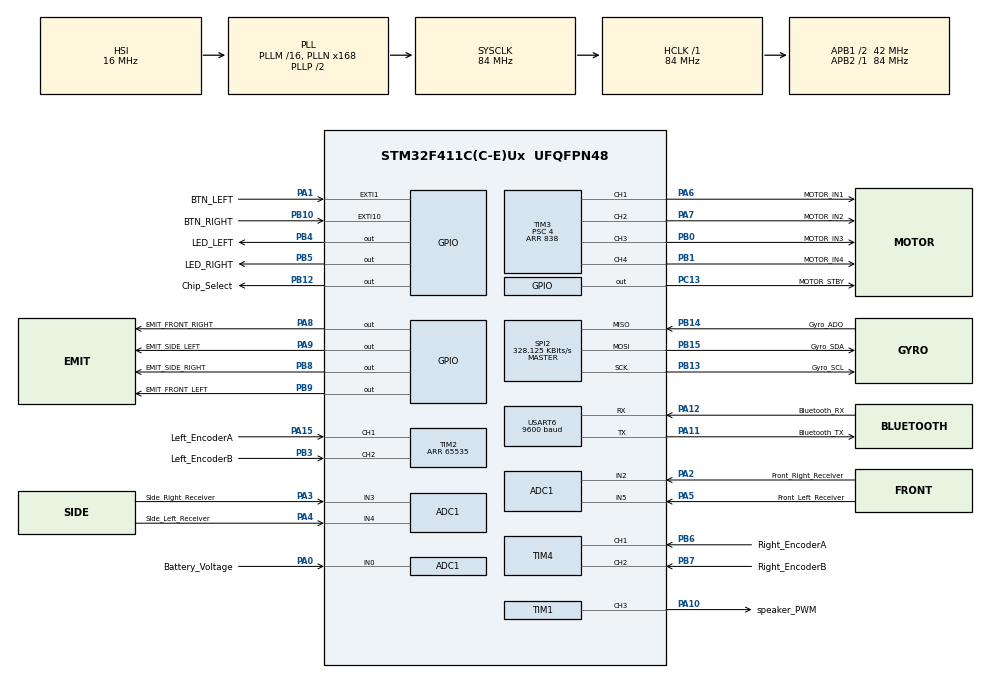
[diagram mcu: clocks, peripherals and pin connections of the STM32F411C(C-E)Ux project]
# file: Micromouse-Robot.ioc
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ADC1.Channel-1\#ChannelRegularConversion=ADC_CHANNEL_0
ADC1.ContinuousConvMode=DISABLE
ADC1.NbrOfConversion=1
ADC1.NbrOfConversionFlag=1
ADC1.Rank-1\#ChannelRegularConversion=1
ADC1.SamplingTime-1\#ChannelRegularConversion=ADC_SAMPLETIME_84CYCLES
ADC1.master=1
Mcu.Family=STM32F4
Mcu.Name=STM32F411C(C-E)Ux
Mcu.Package=UFQFPN48
NVIC.EXTI15_10_IRQn=true\:5\:0\:true\:false\:true\:true\:true\:true
NVIC.EXTI1_IRQn=true\:5\:0\:true\:false\:true\:true\:true\:true
NVIC.PriorityGroup=NVIC_PRIORITYGROUP_4
NVIC.TIM1_UP_TIM10_IRQn=true\:7\:0\:true\:false\:true\:true\:true\:true
NVIC.USART6_IRQn=true\:6\:0\:true\:false\:true\:true\:true\:true
PA0-WKUP.GPIO_Label=Battery_Voltage
PA0-WKUP.Signal=ADCx_IN0
PA1.GPIO_Label=BTN_LEFT
PA1.Signal=GPXTI1
PA10.GPIO_Label=speaker_PWM
PA10.Signal=S_TIM1_CH3
PA11.GPIO_Label=Bluetooth_TX
PA11.Mode=Asynchronous
PA11.Signal=USART6_TX
PA12.GPIO_Label=Bluetooth_RX
PA12.Mode=Asynchronous
PA12.Signal=USART6_RX
PA15.GPIO_Label=Left_EncoderA
PA15.Signal=S_TIM2_CH1_ETR
PA2.GPIO_Label=Front_Right_Receiver
PA2.Signal=ADCx_IN2
PA3.GPIO_Label=Side_Right_Receiver
PA3.Signal=ADCx_IN3
PA4.GPIO_Label=Side_Left_Receiver
PA4.Signal=ADCx_IN4
PA5.GPIO_Label=Front_Left_Receiver
PA5.Signal=ADCx_IN5
PA6.GPIO_Label=MOTOR_IN1
PA6.Signal=S_TIM3_CH1
PA7.GPIO_Label=MOTOR_IN2
PA7.Signal=S_TIM3_CH2
PA8.GPIO_Label=EMIT_FRONT_RIGHT
PA8.Signal=GPIO_Output
PA9.GPIO_Label=EMIT_SIDE_LEFT
PA9.Signal=GPIO_Output
PB0.GPIO_Label=MOTOR_IN3
PB0.Signal=S_TIM3_CH3
PB1.GPIO_Label=MOTOR_IN4
PB1.Signal=S_TIM3_CH4
PB10.GPIO_Label=BTN_RIGHT
PB10.Signal=GPXTI10
PB12.GPIO_Label=Chip_Select
PB12.Signal=GPIO_Output
PB13.GPIO_Label=Gyro_SCL
PB13.Mode=Full_Duplex_Master
PB13.Signal=SPI2_SCK
PB14.GPIO_Label=Gyro_ADO
PB14.Mode=Full_Duplex_Master
PB14.Signal=SPI2_MISO
PB15.GPIO_Label=Gyro_SDA
PB15.Mode=Full_Duplex_Master
PB15.Signal=SPI2_MOSI
PB3.GPIO_Label=Left_EncoderB
PB3.Signal=S_TIM2_CH2
PB4.GPIO_Label=LED_LEFT
PB4.Signal=GPIO_Output
PB5.GPIO_Label=LED_RIGHT
PB5.Signal=GPIO_Output
PB6.GPIO_Label=Right_EncoderA
PB6.Signal=S_TIM4_CH1
PB7.GPIO_Label=Right_EncoderB
PB7.Signal=S_TIM4_CH2
PB8.GPIO_Label=EMIT_SIDE_RIGHT
PB8.Signal=GPIO_Output
PB9.GPIO_Label=EMIT_FRONT_LEFT
PB9.Signal=GPIO_Output
PC13-ANTI_TAMP.GPIO_Label=MOTOR_STBY
PC13-ANTI_TAMP.Signal=GPIO_Output
ProjectManager.HeapSize=0x200
ProjectManager.StackSize=0x400
ProjectManager.TargetToolchain=STM32CubeIDE
RCC.48MHZClocksFreq_Value=42000000
RCC.AHBFreq_Value=84000000
RCC.APB1CLKDivider=RCC_HCLK_DIV2
RCC.APB1Freq_Value=42000000
RCC.APB1TimFreq_Value=84000000
RCC.APB2Freq_Value=84000000
RCC.APB2TimFreq_Value=84000000
RCC.CortexFreq_Value=84000000
RCC.HCLKFreq_Value=84000000
RCC.HSE_VALUE=25000000
RCC.HSI_VALUE=16000000
RCC.LSE_VALUE=32768
RCC.PLLN=168
RCC.SYSCLKFreq_VALUE=84000000
RCC.SYSCLKSource=RCC_SYSCLKSOURCE_PLLCLK
RCC.VCOOutputFreq_Value=168000000
SH.ADCx_IN0.0=ADC1_IN0,IN0
SH.ADCx_IN2.0=ADC1_IN2,IN2
SH.ADCx_IN3.0=ADC1_IN3,IN3
SH.ADCx_IN4.0=ADC1_IN4,IN4
SH.ADCx_IN5.0=ADC1_IN5,IN5
SH.S_TIM1_CH3.0=TIM1_CH3,PWM Generation3 CH3
SH.S_TIM2_CH1_ETR.0=TIM2_CH1,Encoder_Interface
SH.S_TIM2_CH2.0=TIM2_CH2,Encoder_Interface
SH.S_TIM3_CH1.0=TIM3_CH1,PWM Generation1 CH1
SH.S_TIM3_CH2.0=TIM3_CH2,PWM Generation2 CH2
SH.S_TIM3_CH3.0=TIM3_CH3,PWM Generation3 CH3
SH.S_TIM3_CH4.0=TIM3_CH4,PWM Generation4 CH4
SH.S_TIM4_CH1.0=TIM4_CH1,Encoder_Interface
SH.S_TIM4_CH2.0=TIM4_CH2,Encoder_Interface
SPI2.BaudRatePrescaler=SPI_BAUDRATEPRESCALER_128
SPI2.CalculateBaudRate=328.125 KBits/s
SPI2.Direction=SPI_DIRECTION_2LINES
SPI2.Mode=SPI_MODE_MASTER
SPI2.VirtualType=VM_MASTER
TIM1.AutoReloadPreload=TIM_AUTORELOAD_PRELOAD_ENABLE
TIM1.Channel-PWM\ Generation3\ CH3=TIM_CHANNEL_3
TIM1.Period=200
TIM1.Prescaler=20
TIM1.Pulse-PWM\ Generation3\ CH3=100
TIM2.AutoReloadPreload=TIM_AUTORELOAD_PRELOAD_ENABLE
TIM2.EncoderMode=TIM_ENCODERMODE_TI12
TIM2.Period=65535
TIM3.AutoReloadPreload=TIM_AUTORELOAD_PRELOAD_ENABLE
TIM3.Channel-PWM\ Generation1\ CH1=TIM_CHANNEL_1
TIM3.Channel-PWM\ Generation2\ CH2=TIM_CHANNEL_2
TIM3.Channel-PWM\ Generation3\ CH3=TIM_CHANNEL_3
TIM3.Channel-PWM\ Generation4\ CH4=TIM_CHANNEL_4
TIM3.Period=838
TIM3.Prescaler=4
TIM4.AutoReloadPreload=TIM_AUTORELOAD_PRELOAD_ENABLE
TIM4.EncoderMode=TIM_ENCODERMODE_TI12
USART6.BaudRate=9600
USART6.VirtualMode=VM_ASYNC
VP_TIM1_VS_ClockSourceINT.Mode=Internal
VP_TIM3_VS_ClockSourceINT.Mode=Internal
board=custom

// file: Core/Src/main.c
/* USER CODE BEGIN Header */
/**
  ******************************************************************************
  * @file           : main.c
  * @brief          : Main program body
  ******************************************************************************
  * @attention
  *
  * Copyright (c) 2025 STMicroelectronics.
  * All rights reserved.
  *
  * This software is licensed under terms that can be found in the LICENSE file
  * in the root directory of this software component.
  * If no LICENSE file comes with this software, it is provided AS-IS.
  *
  ******************************************************************************
  */
/* USER CODE END Header */
#include "main.h"

/* USER CODE BEGIN Includes */
/*
 * Hardware Configuration:
 * - STM32F411CEU6 @ 84MHz
 * - ADC1: Battery + 4 IR sensors (PA0,PA2,PA3,PA4,PA5)
 * - GPIO: IR emitters (PA8,PA9,PB8,PB9), LEDs (PB4,PB5), Motors (PA6,PA7,PB0,PB1)
 * - TIM3/TIM4: Encoders for precise movement
 * - USART6: Bluetooth communication (PA11,PA12)
 * - SPI2: MPU9250 gyroscope
 * - TIM1: Speaker PWM (PA10)
 * - External Interrupts: Buttons PA1, PB10
 */
#include "micromouse.h"
//#include <stdio.h>
//#include <string.h>
//#include <math.h>
/* USER CODE END Includes */

ADC_HandleTypeDef hadc1;

SPI_HandleTypeDef hspi2;

TIM_HandleTypeDef htim1;
TIM_HandleTypeDef htim2;
TIM_HandleTypeDef htim3;
TIM_HandleTypeDef htim4;

UART_HandleTypeDef huart6;

/* USER CODE BEGIN PV */
/* Micromouse global variables */
MazeCell maze[MAZE_SIZE][MAZE_SIZE];
RobotState robot;
SensorData sensors;
GyroData gyro;
EncoderData encoders;
volatile uint8_t button_pressed = 0;
volatile uint8_t start_flag = 0;

/* Direction vectors for movement */
const int dx[4] = {0, 1, 0, -1}; // N, E, S, W
const int dy[4] = {1, 0, -1, 0};

/* Goal positions (center of maze)  */

const int goal_x1 = (MAZE_SIZE/2 - 1), goal_y1 = (MAZE_SIZE/2 - 1);
const int goal_x2 = (MAZE_SIZE/2), goal_y2 = (MAZE_SIZE/2);

/* Exploration state variables */
static bool system_ready = false;
static bool exploration_started = false;
static uint32_t last_status_time = 0;
static uint32_t last_blink_time = 0;

/* USER CODE END PV */

void SystemClock_Config(void);
static void MX_GPIO_Init(void);
static void MX_ADC1_Init(void);
static void MX_SPI2_Init(void);
static void MX_TIM1_Init(void);
static void MX_TIM2_Init(void);
static void MX_TIM4_Init(void);
static void MX_USART6_UART_Init(void);
static void MX_TIM3_Init(void);
/* USER CODE BEGIN PFP */

static void initialize_hardware_systems(void);
static void run_system_diagnostics(void);
static void send_periodic_status(void);
extern void dwt_delay_init(uint32_t cpu_hz);
extern void dwt_delay_us(uint32_t us);

/* USER CODE END PFP */

/* USER CODE BEGIN 0 */

/**
 * @brief Initialize all hardware systems and perform diagnostics
 */
static void initialize_hardware_systems(void) {
    //send_bluetooth_message("\r\n" "="*60 "\r\n");
    send_bluetooth_message("🤖 CHAMPIONSHIP MICROMOUSE INITIALIZATION 🤖\r\n");
    //send_bluetooth_message("="*60 "\r\n");

    // Initialize PWM for motors
    HAL_TIM_PWM_Start(&htim3, TIM_CHANNEL_1); // PA6 (MOTOR_IN1)
    HAL_TIM_PWM_Start(&htim3, TIM_CHANNEL_2); // PA7 (MOTOR_IN2)
    HAL_TIM_PWM_Start(&htim3, TIM_CHANNEL_3); // PB0 (MOTOR_IN3)
    HAL_TIM_PWM_Start(&htim3, TIM_CHANNEL_4); // PB1 (MOTOR_IN4)
    HAL_GPIO_WritePin(MOTOR_STBY_GPIO_Port, MOTOR_STBY_Pin, GPIO_PIN_SET); // Enable DRV8833

    // Verify ADC GPIO configuration
    verify_adc_gpio_configuration();
    adc_system_diagnostics();

    // Initialize and test MPU9250 gyroscope
    if (mpu9250_init()) {
        send_bluetooth_message("✅ MPU9250 gyroscope initialized successfully\r\n");
        send_bluetooth_message("⚠️ KEEP ROBOT STATIONARY during gyro calibration!\r\n");
        HAL_Delay(2000);
        mpu9250_calibrate_bias();
        send_bluetooth_message("✅ Gyro calibration complete\r\n");
    } else {
        send_bluetooth_message("⚠️ Gyro initialization failed - using basic movement\r\n");
    }

    // Initialize encoders
    start_encoders();
    HAL_Delay(100);

    // Test encoder functionality
    if (get_left_encoder_total() == 0 && get_right_encoder_total() == 0) {
        send_bluetooth_message("⚠️ WARNING: Encoders may not be working properly\r\n");
    } else {
        send_bluetooth_message("✅ Encoders initialized and responding\r\n");
    }

    // Initialize maze exploration system
    initialize_maze_exploration();

    send_bluetooth_message("✅ All systems initialized successfully!\r\n");
}

/**
 * @brief Run comprehensive system diagnostics
 */
static void run_system_diagnostics(void) {
    send_bluetooth_message("\r\n🔧 SYSTEM DIAGNOSTICS 🔧\r\n");

    // Test sensors
    update_sensors();
    if (sensors.battery == 0 && sensors.front_left == 0 &&
        sensors.front_right == 0 && sensors.side_left == 0 && sensors.side_right == 0) {
        send_bluetooth_message("❌ CRITICAL: All sensors reading zero - check connections!\r\n");
    } else {
        send_bluetooth_message("✅ Sensors responding normally\r\n");
        send_sensor_data();
    }

    // Test battery
    send_battery_status();

    // Test gyro if available
    if (mpu9250_is_initialized()) {
        mpu9250_send_status();
    }

    // Test encoders
    send_encoder_status();

    // System health check
    if (system_health_check()) {
        send_bluetooth_message("✅ System health check PASSED\r\n");
        system_ready = true;
    } else {
        send_bluetooth_message("⚠️ System health check FAILED - check warnings above\r\n");
        system_ready = true;//false;
    }

    send_bluetooth_message("🔧 Diagnostics complete!\r\n");
}

/**
 * @brief Send periodic status updates
 */
static void send_periodic_status(void) {
    uint32_t current_time = HAL_GetTick();

    // Send status every 10 seconds when not exploring
    if (current_time - last_status_time > 10000 && !exploration_started) {
        send_battery_status();

        if (system_ready) {
            send_bluetooth_message("💚 System ready - Press LEFT button to start exploration\r\n");
        } else {
            send_bluetooth_message("🔴 System not ready - Check diagnostics\r\n");
        }

        last_status_time = current_time;
    }

    // Blink LED to show system is alive
    if (current_time - last_blink_time > 2000) {
        if (system_ready) {
            HAL_GPIO_TogglePin(LED_LEFT_GPIO_Port, LED_LEFT_Pin);
        } else {
            // Fast blink if system not ready
            HAL_GPIO_TogglePin(LED_RIGHT_GPIO_Port, LED_RIGHT_Pin);
        }
        last_blink_time = current_time;
    }
}

/* USER CODE END 0 */

int main(void)
{

  /* MCU Configuration--------------------------------------------------------*/

  /* Reset of all peripherals, Initializes the Flash interface and the Systick. */
  HAL_Init();

  /* Configure the system clock */
  SystemClock_Config();

  /* Initialize all configured peripherals */
  MX_GPIO_Init();
  MX_ADC1_Init();
  MX_SPI2_Init();
  MX_TIM1_Init();
  MX_TIM2_Init();
  MX_TIM4_Init();
  MX_USART6_UART_Init();
  MX_TIM3_Init();

  // main.c — after SystemClock_Config();

  dwt_delay_init(HAL_RCC_GetHCLKFreq());

  /* USER CODE BEGIN 2 */
  // Initialize all hardware systems
  initialize_hardware_systems();

  // Run system diagnostics
  run_system_diagnostics();

  // Play startup sequence
  play_startup_tone();
  led_sequence_startup();

  // Send startup message
  send_bluetooth_message("\r\n🎮 MICROMOUSE CONTROL READY 🎮\r\n");
  send_bluetooth_message("LEFT button: Start exploration\r\n");
  send_bluetooth_message("RIGHT button: Status/Emergency stop\r\n");
  send_bluetooth_message("Waiting for user input...\r\n");

    // Initial status
  last_status_time = HAL_GetTick();
  last_blink_time = HAL_GetTick();

  // Bench tests used during tuning live in logging_tests.c, sensors.c and
  // movement.c.
  // To run one, call it here instead of starting exploration, e.g.:
  //   calibrate_sensors();
  //   run_gyro_step_test(700, 200, 1000, 2000, 5, 7000);
  //   run_gyro_turn_step_test(700, 120, 1000, 1500, 5, 3500);
  //   run_wall_single_left_step_test(650, 150, 1000, 2000, 10, 6000);
  //   run_wall_lateral_step_test(500, 150, 1000, 2000, 10, 6000);
  //   test_encoder_rotation();   // turn the wheels by hand, watch counts
  // Arguments: base_pwm, delta_pwm, step_delay_ms, step_duration_ms,
  //            sample_ms, total_ms. Output is CSV over Bluetooth; the
  //            Python scripts in Core/ fit PID gains from those logs.

  /* USER CODE END 2 */

  /* Infinite loop */
  while (1)
  {

    /* USER CODE BEGIN 3 */

	//update_sensors();
	// Handle button events
	if (button_pressed == 1) {
		button_pressed = 0;

		if (!exploration_started && system_ready) {
			send_bluetooth_message("\r\n🚀 STARTING MAZE EXPLORATION! 🚀\r\n");
			play_confirmation_tone();
			HAL_Delay(1000);

			exploration_started = true;
			run_maze_exploration_sequence();

		} else if (is_exploration_complete()) {
			// Left button after exploration: shortest-path run from start.
			// For a repeat run, carry the robot back to the start cell
			// facing north, then press again.
			play_confirmation_tone();
			HAL_Delay(1000);
			run_speed_run();

		} else if (!system_ready) {
			send_bluetooth_message("⚠️ System not ready - check diagnostics!\r\n");
			play_error_tone();
		}
	}

	if (button_pressed == 2) {
		button_pressed = 0;

		// Right button - emergency stop or reset
		if (exploration_started && !is_exploration_complete()) {
			send_bluetooth_message("🛑 EMERGENCY STOP!\r\n");
			stop_motors();
			play_error_tone();
			exploration_started = false;
		} else {
			// Send detailed status
			send_bluetooth_message("\r\n📊 DETAILED STATUS REPORT 📊\r\n");
			send_maze_state();
			send_sensor_data();
			send_position_data();
			if (exploration_started) {
				send_performance_metrics();
			}
		}
	}

	// Send periodic status updates
	send_periodic_status();

	// If exploration is running, let it continue
	if (exploration_started && !is_exploration_complete()) {
		// The exploration runs in run_maze_exploration_sequence()
		// and handles its own loop until complete
	}

	// Small delay to prevent overwhelming the system
	HAL_Delay(50);

  }
  /* USER CODE END 3 */
}

void SystemClock_Config(void)
{
  RCC_OscInitTypeDef RCC_OscInitStruct = {0};
  RCC_ClkInitTypeDef RCC_ClkInitStruct = {0};

  /** Configure the main internal regulator output voltage
  */
  __HAL_RCC_PWR_CLK_ENABLE();
  __HAL_PWR_VOLTAGESCALING_CONFIG(PWR_REGULATOR_VOLTAGE_SCALE1);

  /** Initializes the RCC Oscillators according to the specified parameters
  * in the RCC_OscInitTypeDef structure.
  */
  RCC_OscInitStruct.OscillatorType = RCC_OSCILLATORTYPE_HSI;
  RCC_OscInitStruct.HSIState = RCC_HSI_ON;
  RCC_OscInitStruct.HSICalibrationValue = RCC_HSICALIBRATION_DEFAULT;
  RCC_OscInitStruct.PLL.PLLState = RCC_PLL_ON;
  RCC_OscInitStruct.PLL.PLLSource = RCC_PLLSOURCE_HSI;
  RCC_OscInitStruct.PLL.PLLM = 16;
  RCC_OscInitStruct.PLL.PLLN = 168;
  RCC_OscInitStruct.PLL.PLLP = RCC_PLLP_DIV2;
  RCC_OscInitStruct.PLL.PLLQ = 4;
  if (HAL_RCC_OscConfig(&RCC_OscInitStruct) != HAL_OK)
  {
    Error_Handler();
  }

  /** Initializes the CPU, AHB and APB buses clocks
  */
  RCC_ClkInitStruct.ClockType = RCC_CLOCKTYPE_HCLK|RCC_CLOCKTYPE_SYSCLK
                              |RCC_CLOCKTYPE_PCLK1|RCC_CLOCKTYPE_PCLK2;
  RCC_ClkInitStruct.SYSCLKSource = RCC_SYSCLKSOURCE_PLLCLK;
  RCC_ClkInitStruct.AHBCLKDivider = RCC_SYSCLK_DIV1;
  RCC_ClkInitStruct.APB1CLKDivider = RCC_HCLK_DIV2;
  RCC_ClkInitStruct.APB2CLKDivider = RCC_HCLK_DIV1;

  if (HAL_RCC_ClockConfig(&RCC_ClkInitStruct, FLASH_LATENCY_2) != HAL_OK)
  {
    Error_Handler();
  }
}

static void MX_ADC1_Init(void)
{

  ADC_ChannelConfTypeDef sConfig = {0};

  /** Configure the global features of the ADC (Clock, Resolution, Data Alignment and number of conversion)
  */
  hadc1.Instance = ADC1;
  hadc1.Init.ClockPrescaler = ADC_CLOCK_SYNC_PCLK_DIV4;
  hadc1.Init.Resolution = ADC_RESOLUTION_12B;
  hadc1.Init.ScanConvMode = DISABLE;
  hadc1.Init.ContinuousConvMode = DISABLE;
  hadc1.Init.DiscontinuousConvMode = DISABLE;
  hadc1.Init.ExternalTrigConvEdge = ADC_EXTERNALTRIGCONVEDGE_NONE;
  hadc1.Init.ExternalTrigConv = ADC_SOFTWARE_START;
  hadc1.Init.DataAlign = ADC_DATAALIGN_RIGHT;
  hadc1.Init.NbrOfConversion = 1;
  hadc1.Init.DMAContinuousRequests = DISABLE;
  hadc1.Init.EOCSelection = ADC_EOC_SINGLE_CONV;
  if (HAL_ADC_Init(&hadc1) != HAL_OK)
  {
    Error_Handler();
  }

  /** Configure for the selected ADC regular channel its corresponding rank in the sequencer and its sample time.
  */
  sConfig.Channel = ADC_CHANNEL_0;
  sConfig.Rank = 1;
  sConfig.SamplingTime = ADC_SAMPLETIME_84CYCLES;
  if (HAL_ADC_ConfigChannel(&hadc1, &sConfig) != HAL_OK)
  {
    Error_Handler();
  }

}

static void MX_SPI2_Init(void)
{

  /* SPI2 parameter configuration*/
  hspi2.Instance = SPI2;
  hspi2.Init.Mode = SPI_MODE_MASTER;
  hspi2.Init.Direction = SPI_DIRECTION_2LINES;
  hspi2.Init.DataSize = SPI_DATASIZE_8BIT;
  hspi2.Init.CLKPolarity = SPI_POLARITY_LOW;
  hspi2.Init.CLKPhase = SPI_PHASE_1EDGE;
  hspi2.Init.NSS = SPI_NSS_SOFT;
  hspi2.Init.BaudRatePrescaler = SPI_BAUDRATEPRESCALER_128;
  hspi2.Init.FirstBit = SPI_FIRSTBIT_MSB;
  hspi2.Init.TIMode = SPI_TIMODE_DISABLE;
  hspi2.Init.CRCCalculation = SPI_CRCCALCULATION_DISABLE;
  hspi2.Init.CRCPolynomial = 10;
  if (HAL_SPI_Init(&hspi2) != HAL_OK)
  {
    Error_Handler();
  }

}

static void MX_TIM1_Init(void)
{

  TIM_ClockConfigTypeDef sClockSourceConfig = {0};
  TIM_MasterConfigTypeDef sMasterConfig = {0};
  TIM_OC_InitTypeDef sConfigOC = {0};
  TIM_BreakDeadTimeConfigTypeDef sBreakDeadTimeConfig = {0};

  htim1.Instance = TIM1;
  htim1.Init.Prescaler = 20;
  htim1.Init.CounterMode = TIM_COUNTERMODE_UP;
  htim1.Init.Period = 200;
  htim1.Init.ClockDivision = TIM_CLOCKDIVISION_DIV1;
  htim1.Init.RepetitionCounter = 0;
  htim1.Init.AutoReloadPreload = TIM_AUTORELOAD_PRELOAD_ENABLE;
  if (HAL_TIM_Base_Init(&htim1) != HAL_OK)
  {
    Error_Handler();
  }
  sClockSourceConfig.ClockSource = TIM_CLOCKSOURCE_INTERNAL;
  if (HAL_TIM_ConfigClockSource(&htim1, &sClockSourceConfig) != HAL_OK)
  {
    Error_Handler();
  }
  if (HAL_TIM_PWM_Init(&htim1) != HAL_OK)
  {
    Error_Handler();
  }
  sMasterConfig.MasterOutputTrigger = TIM_TRGO_RESET;
  sMasterConfig.MasterSlaveMode = TIM_MASTERSLAVEMODE_DISABLE;
  if (HAL_TIMEx_MasterConfigSynchronization(&htim1, &sMasterConfig) != HAL_OK)
  {
    Error_Handler();
  }
  sConfigOC.OCMode = TIM_OCMODE_PWM1;
  sConfigOC.Pulse = 100;
  sConfigOC.OCPolarity = TIM_OCPOLARITY_HIGH;
  sConfigOC.OCNPolarity = TIM_OCNPOLARITY_HIGH;
  sConfigOC.OCFastMode = TIM_OCFAST_DISABLE;
  sConfigOC.OCIdleState = TIM_OCIDLESTATE_RESET;
  sConfigOC.OCNIdleState = TIM_OCNIDLESTATE_RESET;
  if (HAL_TIM_PWM_ConfigChannel(&htim1, &sConfigOC, TIM_CHANNEL_3) != HAL_OK)
  {
    Error_Handler();
  }
  sBreakDeadTimeConfig.OffStateRunMode = TIM_OSSR_DISABLE;
  sBreakDeadTimeConfig.OffStateIDLEMode = TIM_OSSI_DISABLE;
  sBreakDeadTimeConfig.LockLevel = TIM_LOCKLEVEL_OFF;
  sBreakDeadTimeConfig.DeadTime = 0;
  sBreakDeadTimeConfig.BreakState = TIM_BREAK_DISABLE;
  sBreakDeadTimeConfig.BreakPolarity = TIM_BREAKPOLARITY_HIGH;
  sBreakDeadTimeConfig.AutomaticOutput = TIM_AUTOMATICOUTPUT_DISABLE;
  if (HAL_TIMEx_ConfigBreakDeadTime(&htim1, &sBreakDeadTimeConfig) != HAL_OK)
  {
    Error_Handler();
  }
  HAL_TIM_MspPostInit(&htim1);

}

static void MX_TIM2_Init(void)
{

  TIM_Encoder_InitTypeDef sConfig = {0};
  TIM_MasterConfigTypeDef sMasterConfig = {0};

  htim2.Instance = TIM2;
  htim2.Init.Prescaler = 0;
  htim2.Init.CounterMode = TIM_COUNTERMODE_UP;
  htim2.Init.Period = 65535;
  htim2.Init.ClockDivision = TIM_CLOCKDIVISION_DIV1;
  htim2.Init.AutoReloadPreload = TIM_AUTORELOAD_PRELOAD_ENABLE;
  sConfig.EncoderMode = TIM_ENCODERMODE_TI12;
  sConfig.IC1Polarity = TIM_ICPOLARITY_RISING;
  sConfig.IC1Selection = TIM_ICSELECTION_DIRECTTI;
  sConfig.IC1Prescaler = TIM_ICPSC_DIV1;
  sConfig.IC1Filter = 0;
  sConfig.IC2Polarity = TIM_ICPOLARITY_RISING;
  sConfig.IC2Selection = TIM_ICSELECTION_DIRECTTI;
  sConfig.IC2Prescaler = TIM_ICPSC_DIV1;
  sConfig.IC2Filter = 0;
  if (HAL_TIM_Encoder_Init(&htim2, &sConfig) != HAL_OK)
  {
    Error_Handler();
  }
  sMasterConfig.MasterOutputTrigger = TIM_TRGO_RESET;
  sMasterConfig.MasterSlaveMode = TIM_MASTERSLAVEMODE_DISABLE;
  if (HAL_TIMEx_MasterConfigSynchronization(&htim2, &sMasterConfig) != HAL_OK)
  {
    Error_Handler();
  }

}

static void MX_TIM3_Init(void)
{

  TIM_ClockConfigTypeDef sClockSourceConfig = {0};
  TIM_MasterConfigTypeDef sMasterConfig = {0};
  TIM_OC_InitTypeDef sConfigOC = {0};

  htim3.Instance = TIM3;
  htim3.Init.Prescaler = 4;
  htim3.Init.CounterMode = TIM_COUNTERMODE_UP;
  htim3.Init.Period = 838;
  htim3.Init.ClockDivision = TIM_CLOCKDIVISION_DIV1;
  htim3.Init.AutoReloadPreload = TIM_AUTORELOAD_PRELOAD_ENABLE;
  if (HAL_TIM_Base_Init(&htim3) != HAL_OK)
  {
    Error_Handler();
  }
  sClockSourceConfig.ClockSource = TIM_CLOCKSOURCE_INTERNAL;
  if (HAL_TIM_ConfigClockSource(&htim3, &sClockSourceConfig) != HAL_OK)
  {
    Error_Handler();
  }
  if (HAL_TIM_PWM_Init(&htim3) != HAL_OK)
  {
    Error_Handler();
  }
  sMasterConfig.MasterOutputTrigger = TIM_TRGO_RESET;
  sMasterConfig.MasterSlaveMode = TIM_MASTERSLAVEMODE_DISABLE;
  if (HAL_TIMEx_MasterConfigSynchronization(&htim3, &sMasterConfig) != HAL_OK)
  {
    Error_Handler();
  }
  sConfigOC.OCMode = TIM_OCMODE_PWM1;
  sConfigOC.Pulse = 0;
  sConfigOC.OCPolarity = TIM_OCPOLARITY_HIGH;
  sConfigOC.OCFastMode = TIM_OCFAST_DISABLE;
  if (HAL_TIM_PWM_ConfigChannel(&htim3, &sConfigOC, TIM_CHANNEL_1) != HAL_OK)
  {
    Error_Handler();
  }
  if (HAL_TIM_PWM_ConfigChannel(&htim3, &sConfigOC, TIM_CHANNEL_2) != HAL_OK)
  {
    Error_Handler();
  }
  if (HAL_TIM_PWM_ConfigChannel(&htim3, &sConfigOC, TIM_CHANNEL_3) != HAL_OK)
  {
    Error_Handler();
  }
  if (HAL_TIM_PWM_ConfigChannel(&htim3, &sConfigOC, TIM_CHANNEL_4) != HAL_OK)
  {
    Error_Handler();
  }
  HAL_TIM_MspPostInit(&htim3);

}

static void MX_TIM4_Init(void)
{

  TIM_Encoder_InitTypeDef sConfig = {0};
  TIM_MasterConfigTypeDef sMasterConfig = {0};

  htim4.Instance = TIM4;
  htim4.Init.Prescaler = 0;
  htim4.Init.CounterMode = TIM_COUNTERMODE_UP;
  htim4.Init.Period = 65535;
  htim4.Init.ClockDivision = TIM_CLOCKDIVISION_DIV1;
  htim4.Init.AutoReloadPreload = TIM_AUTORELOAD_PRELOAD_ENABLE;
  sConfig.EncoderMode = TIM_ENCODERMODE_TI12;
  sConfig.IC1Polarity = TIM_ICPOLARITY_RISING;
  sConfig.IC1Selection = TIM_ICSELECTION_DIRECTTI;
  sConfig.IC1Prescaler = TIM_ICPSC_DIV1;
  sConfig.IC1Filter = 0;
  sConfig.IC2Polarity = TIM_ICPOLARITY_RISING;
  sConfig.IC2Selection = TIM_ICSELECTION_DIRECTTI;
  sConfig.IC2Prescaler = TIM_ICPSC_DIV1;
  sConfig.IC2Filter = 0;
  if (HAL_TIM_Encoder_Init(&htim4, &sConfig) != HAL_OK)
  {
    Error_Handler();
  }
  sMasterConfig.MasterOutputTrigger = TIM_TRGO_RESET;
  sMasterConfig.MasterSlaveMode = TIM_MASTERSLAVEMODE_DISABLE;
  if (HAL_TIMEx_MasterConfigSynchronization(&htim4, &sMasterConfig) != HAL_OK)
  {
    Error_Handler();
  }

}

static void MX_USART6_UART_Init(void)
{

  huart6.Instance = USART6;
  huart6.Init.BaudRate = 9600;
  huart6.Init.WordLength = UART_WORDLENGTH_8B;
  huart6.Init.StopBits = UART_STOPBITS_1;
  huart6.Init.Parity = UART_PARITY_NONE;
  huart6.Init.Mode = UART_MODE_TX_RX;
  huart6.Init.HwFlowCtl = UART_HWCONTROL_NONE;
  huart6.Init.OverSampling = UART_OVERSAMPLING_16;
  if (HAL_UART_Init(&huart6) != HAL_OK)
  {
    Error_Handler();
  }

}

static void MX_GPIO_Init(void)
{
  GPIO_InitTypeDef GPIO_InitStruct = {0};

  /* GPIO Ports Clock Enable */
  __HAL_RCC_GPIOC_CLK_ENABLE();
  __HAL_RCC_GPIOA_CLK_ENABLE();
  __HAL_RCC_GPIOB_CLK_ENABLE();

  /*Configure GPIO pin Output Level */
  HAL_GPIO_WritePin(MOTOR_STBY_GPIO_Port, MOTOR_STBY_Pin, GPIO_PIN_RESET);

  /*Configure GPIO pin Output Level */
  HAL_GPIO_WritePin(GPIOB, Chip_Select_Pin|LED_LEFT_Pin|LED_RIGHT_Pin|EMIT_SIDE_RIGHT_Pin
                          |EMIT_FRONT_LEFT_Pin, GPIO_PIN_RESET);

  /*Configure GPIO pin Output Level */
  HAL_GPIO_WritePin(GPIOA, EMIT_FRONT_RIGHT_Pin|EMIT_SIDE_LEFT_Pin, GPIO_PIN_RESET);

  /*Configure GPIO pin : MOTOR_STBY_Pin */
  GPIO_InitStruct.Pin = MOTOR_STBY_Pin;
  GPIO_InitStruct.Mode = GPIO_MODE_OUTPUT_PP;
  GPIO_InitStruct.Pull = GPIO_NOPULL;
  GPIO_InitStruct.Speed = GPIO_SPEED_FREQ_LOW;
  HAL_GPIO_Init(MOTOR_STBY_GPIO_Port, &GPIO_InitStruct);

  /*Configure GPIO pin : BTN_LEFT_Pin */
  GPIO_InitStruct.Pin = BTN_LEFT_Pin;
  GPIO_InitStruct.Mode = GPIO_MODE_IT_RISING;
  GPIO_InitStruct.Pull = GPIO_NOPULL;
  HAL_GPIO_Init(BTN_LEFT_GPIO_Port, &GPIO_InitStruct);

  /*Configure GPIO pin : BTN_RIGHT_Pin */
  GPIO_InitStruct.Pin = BTN_RIGHT_Pin;
  GPIO_InitStruct.Mode = GPIO_MODE_IT_RISING;
  GPIO_InitStruct.Pull = GPIO_NOPULL;
  HAL_GPIO_Init(BTN_RIGHT_GPIO_Port, &GPIO_InitStruct);

  /*Configure GPIO pins : Chip_Select_Pin LED_LEFT_Pin LED_RIGHT_Pin EMIT_SIDE_RIGHT_Pin
                           EMIT_FRONT_LEFT_Pin */
  GPIO_InitStruct.Pin = Chip_Select_Pin|LED_LEFT_Pin|LED_RIGHT_Pin|EMIT_SIDE_RIGHT_Pin
                          |EMIT_FRONT_LEFT_Pin;
  GPIO_InitStruct.Mode = GPIO_MODE_OUTPUT_PP;
  GPIO_InitStruct.Pull = GPIO_NOPULL;
  GPIO_InitStruct.Speed = GPIO_SPEED_FREQ_LOW;
  HAL_GPIO_Init(GPIOB, &GPIO_InitStruct);

  /*Configure GPIO pins : EMIT_FRONT_RIGHT_Pin EMIT_SIDE_LEFT_Pin */
  GPIO_InitStruct.Pin = EMIT_FRONT_RIGHT_Pin|EMIT_SIDE_LEFT_Pin;
  GPIO_InitStruct.Mode = GPIO_MODE_OUTPUT_PP;
  GPIO_InitStruct.Pull = GPIO_NOPULL;
  GPIO_InitStruct.Speed = GPIO_SPEED_FREQ_LOW;
  HAL_GPIO_Init(GPIOA, &GPIO_InitStruct);

  /* EXTI interrupt init*/
  HAL_NVIC_SetPriority(EXTI1_IRQn, 5, 0);
  HAL_NVIC_EnableIRQ(EXTI1_IRQn);

  HAL_NVIC_SetPriority(EXTI15_10_IRQn, 5, 0);
  HAL_NVIC_EnableIRQ(EXTI15_10_IRQn);

}

/* USER CODE BEGIN 4 */
void HAL_GPIO_EXTI_Callback(uint16_t GPIO_Pin)
{
    static uint32_t last_press = 0;
    uint32_t current_time = HAL_GetTick();

    // Debounce - ignore presses within 200ms
    if ((current_time - last_press) > 200) {
        if (GPIO_Pin == BTN_LEFT_Pin) {
            button_pressed = 1;
            start_flag = 1;  // Allow system to start
            send_bluetooth_message("Left button pressed\r\n");
        } else if (GPIO_Pin == BTN_RIGHT_Pin) {
            button_pressed = 2;
            send_bluetooth_message("Right button pressed\r\n");
        }
        last_press = current_time;
    }
}

// Add this function to main.c after MX_GPIO_Init()
void verify_adc_gpio_configuration(void) {
    GPIO_InitTypeDef GPIO_InitStruct = {0};

    // Ensure all ADC pins are in analog mode
    // PA0 (ADC_CHANNEL_0) - Battery
    GPIO_InitStruct.Pin = GPIO_PIN_0;
    GPIO_InitStruct.Mode = GPIO_MODE_ANALOG;
    GPIO_InitStruct.Pull = GPIO_NOPULL;
    HAL_GPIO_Init(GPIOA, &GPIO_InitStruct);

    // PA2 (ADC_CHANNEL_2) - Front Right
    GPIO_InitStruct.Pin = GPIO_PIN_2;
    HAL_GPIO_Init(GPIOA, &GPIO_InitStruct);

    // PA3 (ADC_CHANNEL_3) - Side Right
    GPIO_InitStruct.Pin = GPIO_PIN_3;
    HAL_GPIO_Init(GPIOA, &GPIO_InitStruct);

    // PA4 (ADC_CHANNEL_4) - Side Left
    GPIO_InitStruct.Pin = GPIO_PIN_4;
    HAL_GPIO_Init(GPIOA, &GPIO_InitStruct);

    // PA5 (ADC_CHANNEL_5) - Front Left
    GPIO_InitStruct.Pin = GPIO_PIN_5;
    HAL_GPIO_Init(GPIOA, &GPIO_InitStruct);

    send_bluetooth_message("✅ ADC GPIO configuration verified\r\n");
}

/* USER CODE END 4 */

void Error_Handler(void)
{
  /* USER CODE BEGIN Error_Handler_Debug */
  /* User can add his own implementation to report the HAL error return state */
  __disable_irq();
  while (1)
  {
      HAL_GPIO_TogglePin(LED_LEFT_GPIO_Port, LED_LEFT_Pin);
      HAL_GPIO_TogglePin(LED_RIGHT_GPIO_Port, LED_RIGHT_Pin);
      HAL_Delay(100);
  }
  /* USER CODE END Error_Handler_Debug */
}
